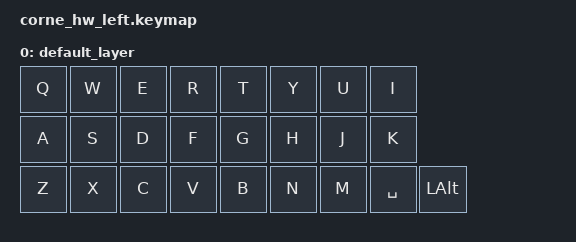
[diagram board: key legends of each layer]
#include <behaviors.dtsi>
#include <dt-bindings/zmk/keys.h>

/ {
    keymap {
        compatible = "zmk,keymap";

        default_layer {
            bindings = <
                &kp Q &kp W &kp E &kp R &kp T &kp Y &kp U &kp I
                &kp A &kp S &kp D &kp F &kp G &kp H &kp J &kp K
                &kp Z &kp X &kp C &kp V &kp B &kp N &kp M &kp SPC &kp LALT
            >;
        };
    };
};
